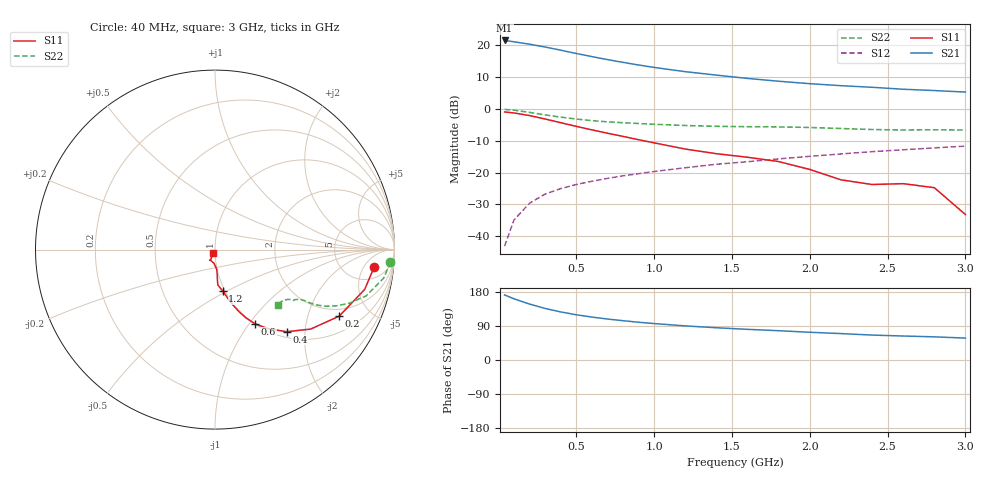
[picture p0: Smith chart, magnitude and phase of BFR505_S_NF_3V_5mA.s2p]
! Filename:  BFR505E.S2P  Version:  3.0
! Philips part #: BFR505  Date: Feb 1992
! Bias condition: Vce=3V, Ic=5mA
#  MHz  S  MA  R  50
! Freq  S11  S21  S12  S22  !GUM [dB]
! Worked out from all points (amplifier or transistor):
!   21 points, 40 MHz to 3 GHz, reference 50 ohm
!   highest |S21| = 21.5 dB at 40 MHz (marker M1)
!   |S21| within 3 dB of that: start of sweep to 394.4 MHz
!   unconditionally stable (mu >= 1): 1.507 GHz to end of sweep
!   at 300 MHz: K = 0.45, MSG = 23.1 dB, |S12| = -26.7 dB
!   at 1 GHz: K = 0.90, MSG = 16.3 dB, |S12| = -19.7 dB
!   at 3 GHz: K = 1.06, MAG = 7.0 dB, |S12| = -11.7 dB
!   lowest NFmin = 1.60 dB at 900 MHz
!   S11 on the Smith chart (normalised r, x): 40 MHz: 9, -9; 200 MHz: 1.65, -3.19; 400 MHz: 1.11, -1.60; 600 MHz: 1.01, -1.07; 1.2 GHz: 0.98, -0.47; 3 GHz: 0.98, -0.04
40  0.893 -6.1  11.84 171.6  0.007 86.6  0.98 -4.0
100  0.863 -14.9  11.28 161.6  0.018 80.8  0.954 -9.5
200  0.785 -28.2  10.35 147.6  0.033 73.7  0.881 -17.0
300  0.693 -39.7  9.345 136.1  0.046 69.9  0.804 -21.9
400  0.607 -48.9  8.33 126.9  0.056 67.8  0.742 -25.0
500  0.531 -56.1  7.395 119.4  0.065 67.1  0.692 -27.1
600  0.469 -61.7  6.613 113.4  0.073 66.6  0.654 -28.3
700  0.415 -65.8  5.932 108.1  0.081 67.0  0.626 -29.0
800  0.37 -68.9  5.367 103.7  0.089 67.3  0.606 -29.3
900  0.328 -71.8  4.881 99.7  0.096 67.5  0.589 -29.5
1000  0.293 -74.4  4.472 96.1  0.104 67.7  0.573 -29.7
1200  0.234 -79.4  3.833 90.0  0.119 68.2  0.548 -30.4
1400  0.198 -85.4  3.385 85.1  0.135 68.6  0.532 -31.5
1600  0.174 -85.5  3.003 80.9  0.148 69.0  0.525 -32.1
1800  0.149 -85.0  2.714 77.3  0.164 69.5  0.521 -33.0
2000  0.112 -84.9  2.484 73.2  0.18 68.9  0.51 -33.2
2200  0.077 -93.8  2.311 69.7  0.196 68.4  0.492 -34.3
2400  0.065 -111.8  2.181 65.8  0.213 67.8  0.474 -36.7
2600  0.067 -116.3  2.032 63.3  0.228 67.3  0.466 -39.4
2800  0.058 -113.1  1.938 61.1  0.244 67.3  0.47 -41.0
3000  0.022 -120.6  1.835 57.8  0.26 66.5  0.465 -41.4
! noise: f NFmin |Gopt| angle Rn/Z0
900  1.6  0.509  16  0.6
2000  2.2  0.353  46  0.49
